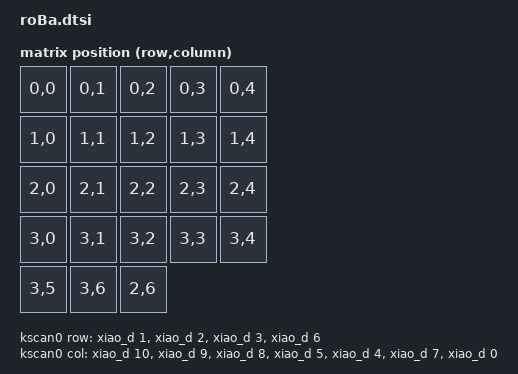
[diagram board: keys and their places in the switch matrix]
#include <dt-bindings/zmk/matrix_transform.h>

/ {
    chosen {
        zmk,kscan = &kscan0;
        zmk,matrix_transform = &default_transform;
    };

    default_transform: keymap_transform_0 {
        compatible = "zmk,matrix-transform";
        columns = <7>;
        rows = <4>; // 物理的な行は4本で確定
        
        map = <
RC(0,0) RC(0,1) RC(0,2) RC(0,3) RC(0,4)                  // Q W E R T
RC(1,0) RC(1,1) RC(1,2) RC(1,3) RC(1,4)                  // A S D F G
RC(2,0) RC(2,1) RC(2,2) RC(2,3) RC(2,4)                  // Z X C V B
RC(3,0) RC(3,1) RC(3,2) RC(3,3) RC(3,4)                  // F4 F5 F6 F7 F8
RC(3,5) RC(3,6) RC(2,6)                                  // 親指 (D7, D0, D0の別行?)
        >;
    };

    kscan0: kscan_0 {
        compatible = "zmk,kscan-gpio-matrix";
        wakeup-source;
        
        // ★col2row（実績のある向き）
        diode-direction = "col2row";

        // ★列ピン（7本）：D0はこっち専用にします！
        col-gpios
            = <&xiao_d 10 (GPIO_ACTIVE_HIGH | GPIO_PULL_DOWN)> // Col 0
            , <&xiao_d 9  (GPIO_ACTIVE_HIGH | GPIO_PULL_DOWN)> // Col 1
            , <&xiao_d 8  (GPIO_ACTIVE_HIGH | GPIO_PULL_DOWN)> // Col 2
            , <&xiao_d 5  (GPIO_ACTIVE_HIGH | GPIO_PULL_DOWN)> // Col 3
            , <&xiao_d 4  (GPIO_ACTIVE_HIGH | GPIO_PULL_DOWN)> // Col 4
            , <&xiao_d 7  (GPIO_ACTIVE_HIGH | GPIO_PULL_DOWN)> // Col 5 (Thumb1)
            , <&xiao_d 0  (GPIO_ACTIVE_HIGH | GPIO_PULL_DOWN)> // Col 6 (Thumb2)
            ;

        // ★行ピン（4本）：D0を削除しました！
        // ただし、連打防止のために「PULL_DOWN」は残しています（ここがChatGPT案との違い）
        row-gpios
            = <&xiao_d 1 (GPIO_ACTIVE_HIGH | GPIO_PULL_DOWN)> // Row 0 (QWE)
            , <&xiao_d 2 (GPIO_ACTIVE_HIGH | GPIO_PULL_DOWN)> // Row 1 (ASD)
            , <&xiao_d 3 (GPIO_ACTIVE_HIGH | GPIO_PULL_DOWN)> // Row 2 (ZXC)
            , <&xiao_d 6 (GPIO_ACTIVE_HIGH | GPIO_PULL_DOWN)> // Row 3 (F4/Thumb)
            ;
    };
};
